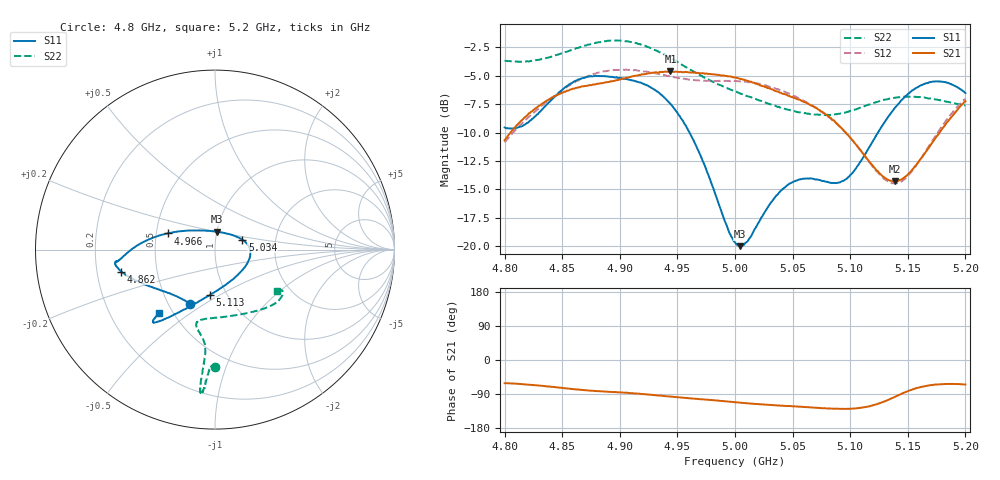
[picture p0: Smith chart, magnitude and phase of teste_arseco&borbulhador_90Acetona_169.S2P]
! Network Analyzer HP8722D
! Hewlett-Packard
! Data name: Linha & Wilkinson
! Saver's name: Rodrigo Anjos
! Comments: Teste da utilização de aquisição
! continua pelo VNA HP8722D
! Time and date: 17/4/2025 12:27
!  Frequency  S11  S21  S12  S22
# HZ  S  MA R 50
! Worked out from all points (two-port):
!   401 points, 4.8 GHz to 5.2 GHz, reference 50 ohm
!   highest |S21| = -4.62 dB at 4.944 GHz (marker M1); lowest = -14.3 dB at 5.139 GHz (marker M2)
!   |S21| within 3 dB of the highest: 4.83 GHz to 5.066 GHz (236 MHz wide, 4.77 % of centre); 5.196292 GHz to end of sweep
!   lowest |S11| = -20.0 dB at 5.004 GHz (marker M3), VSWR 1.22, Z = 49.9 + j10 ohm
!   |S11| at or under -10 dB: 4.961 GHz to 5.124 GHz (163.5 MHz wide, 3.24 % of centre)
!   |S22| runs from -8.5 to -1.9 dB; largest |S21 - S12| = 0.88
!   S11 on the Smith chart (normalised r, x): 4.8 GHz: 0.64, -0.44; 4.862 GHz: 0.31, -0.11; 4.966 GHz: 0.58, +0.11; 5.034 GHz: 1.35, +0.15; 5.113 GHz: 0.84, -0.45; 5.2 GHz: 0.42, -0.38
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4.8e9  0.3333 -114.2  0.2929 -61.3  0.2865 -175.3  0.6569 -90.0
4.819e9  0.3474 -134.2  0.3744 -64.5  0.3625 -174.0  0.6516 -91.6
4.862e9  0.5357 -166.7  0.4982 -77.6  0.5323 -177.3  0.7445 -94.0
4.867e9  0.5481 -168.7  0.5056 -79.0  0.5468 -178.2  0.7579 -94.2
4.899e9  0.5499 -173.3  0.5404 -85.5  0.5968 175.2  0.804 -95.7
4.934e9  0.4736 -179.3  0.5819 -93.9  0.574 171.6  0.7159 -96.1
4.944e9  0.4231 176.0  0.5878 -96.6  0.5576 171.6  0.6747 -95.9
4.966e9  0.2784 161.1  0.5781 -102.4  0.5376 173.5  0.5793 -95.3
5e9  0.1039 98.4  0.5532 -111.6  0.5341 175.8  0.4796 -99.5
5.004e9  0.09996 84.6  0.5463 -112.4  0.5317 175.8  0.4714 -100.4
5.012e9  0.1071 58.9  0.5321 -114.6  0.5268 175.5  0.4554 -102.2
5.034e9  0.1624 20.0  0.4848 -119.6  0.4972 174.6  0.4153 -103.8
5.049e9  0.19 4.6  0.4534 -121.7  0.4649 173.9  0.3956 -100.3
5.067e9  0.1985 -14.4  0.4151 -125.4  0.4175 173.4  0.381 -90.8
5.093e9  0.1936 -58.7  0.3287 -128.8  0.3283 174.0  0.3849 -70.7
5.113e9  0.2539 -96.3  0.2486 -124.4  0.2481 -179.9  0.4145 -55.1
5.134e9  0.3771 -117.5  0.1948 -103.8  0.1911 -156.8  0.4461 -43.1
5.139e9  0.4078 -120.5  0.1927 -96.9  0.1892 -148.9  0.4508 -41.0
5.151e9  0.4713 -125.5  0.2095 -81.1  0.2066 -130.5  0.4555 -36.6
5.17e9  0.5282 -129.8  0.2795 -66.4  0.2844 -112.5  0.4465 -32.2
5.184e9  0.5248 -131.0  0.3509 -63.4  0.3618 -107.5  0.4325 -31.3
5.2e9  0.4721 -131.5  0.435 -64.7  0.4465 -106.8  0.4164 -33.7
